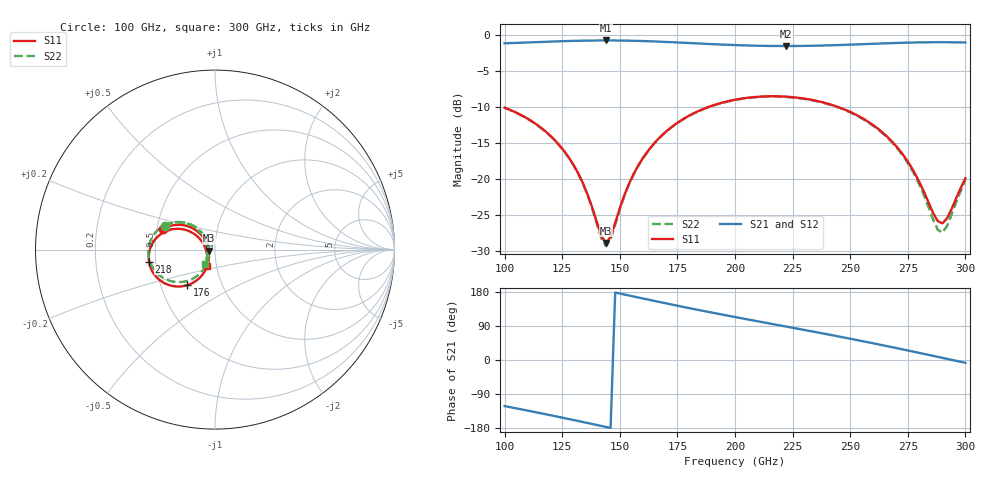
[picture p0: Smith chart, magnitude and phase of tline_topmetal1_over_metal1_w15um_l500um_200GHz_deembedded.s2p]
! Created with skrf 2.0.1 (http://scikit-rf.org).
# GHz S DB R 50.0
!freq dBS11 angS11 dBS21 angS21 dBS12 angS12 dBS22 angS22
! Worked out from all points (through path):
!   101 points, 100 GHz to 300 GHz, reference 50 ohm
!   highest |S21| = -0.81 dB at 144 GHz (marker M1); lowest = -1.6 dB at 222 GHz (marker M2)
!   group delay of S21, straight-line fit = 3.37 ps
!   lowest |S11| = -28.9 dB at 144 GHz (marker M3), VSWR 1.07, Z = 46.6 - j0.481 ohm
!   |S11| at or under -10 dB: start of sweep to 188.8 GHz; 244.4 GHz to end of sweep
!   |S22| runs from -29.3 to -8.6 dB; largest |S21 - S12| = 1e-13
!   S11 on the Smith chart (normalised r, x): 100 GHz: 0.54, +0.14; 176 GHz: 0.68, -0.29; 218 GHz: 0.46, -0.07; 300 GHz: 0.90, -0.16
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100  -10.14 158.5  -1.20 -121.7  -1.20 -121.7  -10.17 154.5
120  -14.07 139.2  -0.97 -145.8  -0.97 -145.8  -14.11 134.2
128  -17.11 134.0  -0.89 -155.9  -0.89 -155.9  -17.17 128.5
134  -20.60 134.3  -0.84 -163.7  -0.84 -163.7  -20.70 128.4
142  -27.93 165.2  -0.81 -174.1  -0.81 -174.1  -28.30 158.8
144  -28.90 -171.7  -0.81 -176.7  -0.81 -176.7  -29.35 -177.1
146  -28.05 -148.3  -0.81 -179.3  -0.81 -179.3  -28.41 -152.6
152  -22.26 -118.4  -0.83 172.8  -0.83 172.8  -22.37 -123.0
156  -19.33 -115.0  -0.86 167.6  -0.86 167.6  -19.40 -120.1
168  -14.05 -120.6  -0.98 152.1  -0.98 152.1  -14.10 -126.6
176  -12.02 -127.8  -1.10 142.1  -1.10 142.1  -12.06 -134.2
200  -9.03 -151.8  -1.45 113.4  -1.45 113.4  -9.08 -159.4
218  -8.55 -169.7  -1.58 93.0  -1.58 93.0  -8.60 -178.1
222  -8.60 -173.7  -1.58 88.4  -1.58 88.4  -8.65 177.7
234  -9.09 174.6  -1.54 74.8  -1.54 74.8  -9.15 165.4
254  -11.36 155.7  -1.34 51.4  -1.34 51.4  -11.43 145.2
268  -14.78 144.9  -1.18 34.1  -1.18 34.1  -14.90 133.1
276  -18.11 143.1  -1.11 23.9  -1.11 23.9  -18.33 130.1
288  -25.87 179.7  -1.05 8.3  -1.05 8.3  -27.06 166.8
290  -26.19 -163.1  -1.05 5.7  -1.05 5.7  -27.47 -173.1
292  -25.51 -146.7  -1.06 3.0  -1.06 3.0  -26.58 -154.4
300  -19.94 -118.0  -1.09 -7.4  -1.09 -7.4  -20.23 -125.9
